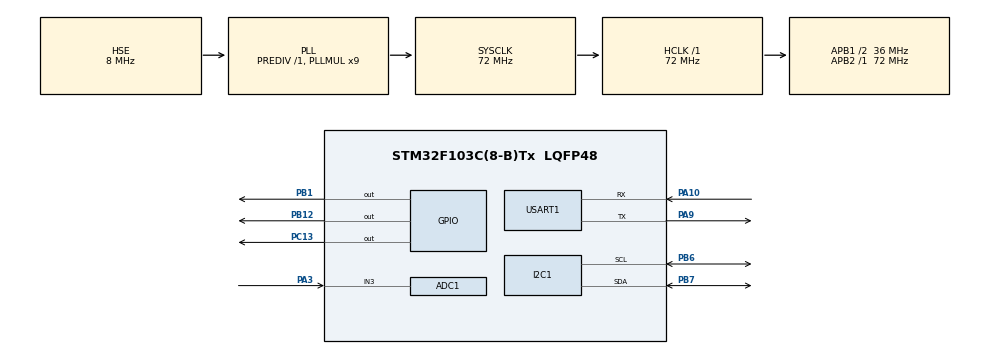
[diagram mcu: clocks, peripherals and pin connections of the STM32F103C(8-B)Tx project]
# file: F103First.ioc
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ADC1.Channel-0\#ChannelRegularConversion=ADC_CHANNEL_3
ADC1.NbrOfConversionFlag=1
ADC1.Rank-0\#ChannelRegularConversion=1
ADC1.SamplingTime-0\#ChannelRegularConversion=ADC_SAMPLETIME_71CYCLES_5
ADC1.master=1
Mcu.Family=STM32F1
Mcu.Name=STM32F103C(8-B)Tx
Mcu.Package=LQFP48
NVIC.PriorityGroup=NVIC_PRIORITYGROUP_4
NVIC.USART1_IRQn=true\:0\:0\:false\:false\:true\:true\:true\:true
PA10.Mode=Asynchronous
PA10.Signal=USART1_RX
PA13.Mode=Serial_Wire
PA13.Signal=SYS_JTMS-SWDIO
PA14.Mode=Serial_Wire
PA14.Signal=SYS_JTCK-SWCLK
PA3.Signal=ADCx_IN3
PA9.Mode=Asynchronous
PA9.Signal=USART1_TX
PB1.Signal=GPIO_Output
PB12.Signal=GPIO_Output
PB6.Mode=I2C
PB6.Signal=I2C1_SCL
PB7.Mode=I2C
PB7.Signal=I2C1_SDA
PC13-TAMPER-RTC.Signal=GPIO_Output
PD0-OSC_IN.Mode=HSE-External-Oscillator
PD0-OSC_IN.Signal=RCC_OSC_IN
PD1-OSC_OUT.Mode=HSE-External-Oscillator
PD1-OSC_OUT.Signal=RCC_OSC_OUT
ProjectManager.HeapSize=0x200
ProjectManager.StackSize=0x400
ProjectManager.TargetToolchain=STM32CubeIDE
RCC.ADCPresc=RCC_ADCPCLK2_DIV6
RCC.AHBFreq_Value=72000000
RCC.APB1CLKDivider=RCC_HCLK_DIV2
RCC.APB1Freq_Value=36000000
RCC.APB1TimFreq_Value=72000000
RCC.APB2Freq_Value=72000000
RCC.APB2TimFreq_Value=72000000
RCC.HCLKFreq_Value=72000000
RCC.PLLMUL=RCC_PLL_MUL9
RCC.PLLSourceVirtual=RCC_PLLSOURCE_HSE
RCC.SYSCLKFreq_VALUE=72000000
RCC.SYSCLKSource=RCC_SYSCLKSOURCE_PLLCLK
RCC.USBFreq_Value=72000000
SH.ADCx_IN3.0=ADC1_IN3,IN3
USART1.VirtualMode=VM_ASYNC
board=custom

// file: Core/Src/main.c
/* USER CODE BEGIN Header */
/**
  ******************************************************************************
  * @file           : main.c
  * @brief          : Main program body
  ******************************************************************************
  */
/* USER CODE END Header */
#include "main.h"

/* USER CODE BEGIN Includes */
#include <stdio.h>
#include <string.h>
#include "ds18b20.h"
#include "ads1115.h"
#include "moisture_sensor.h"

/* USER CODE END Includes */

/* USER CODE BEGIN PD */
#define STARTUP_DEBUG_WINDOW_MS 5000
#define SOIL_DRY_RAW            17300U
#define SOIL_WET_RAW             7100U

/* USER CODE END PD */

ADC_HandleTypeDef hadc1;

I2C_HandleTypeDef hi2c1;

UART_HandleTypeDef huart1;

/* USER CODE BEGIN PV */
volatile uint8_t measure_flag = 0;
volatile uint8_t ack_received = 0;
uint32_t adc_value = 0;
ADS1115_t ads;

uint8_t rx_data;
char rx_buffer[32];
uint8_t rx_index = 0;

/* Battery voltage is measured via ADC1_IN3 (PA3).
 * A 100k/100k voltage divider is connected between BAT+ and GND.
 * ReadBatteryMillivolts() uses the CubeMX-generated hadc1 handle.
 */

/* Last measured battery voltage in mV.
 * Initialize to 4200 mV to prevent an immediate critical-battery shutdown
 * during the first measurement cycle after power-on.
 */
static uint32_t last_battery_mV = 4200;

/* Voltage thresholds and ADC scaling for a single 18650 Li-Ion cell. */
#define BATTERY_CRITICAL_MV   3100U   /* Enter STANDBY after warning blink below this level */
#define BATTERY_VREF_MV       3300U   /* STM32 VDD/VREF+ after LDO */
#define BATTERY_ADC_MAX       4095U   /* 12-bit ADC */
#define BATTERY_DIVIDER       2U      /* R1=R2=100k -> x2 */

/* USER CODE END PV */

void SystemClock_Config(void);
static void MX_GPIO_Init(void);
static void MX_I2C1_Init(void);
static void MX_USART1_UART_Init(void);
static void MX_ADC1_Init(void);
/* USER CODE BEGIN PFP */

uint8_t Moisture_ToPercent(uint32_t raw, uint32_t dry, uint32_t wet);
static void EnterStopMode(void);
static uint8_t Debugger_IsAttached(void);
static void LED_Blink(uint8_t count);
HAL_StatusTypeDef MeasureAndTransmit(void);
static uint32_t ReadBatteryMillivolts(void);
static void CriticalBatteryShutdown(void);

/* USER CODE END PFP */

/* USER CODE BEGIN 0 */

void HAL_GPIO_EXTI_Callback(uint16_t GPIO_Pin) {

	if(GPIO_Pin == GPIO_PIN_10){
		/* PA10 (USART1 RX) is reconfigured as EXTI before entering STOP mode.
		 * The start bit of the first byte from the ESP32 wakes the MCU.
		 */
		measure_flag = 1;

	}
}

/* LED diagnostics use the onboard PC13 LED (active LOW) and an external
 * PB12 LED (active HIGH). Both LEDs are switched synchronously.
 * One short blink = OK, two = error, three = separate error condition.
 */
static void LED_Blink(uint8_t count)
{
    for (uint8_t i = 0; i < count; i++)
    {
        HAL_GPIO_WritePin(GPIOC, GPIO_PIN_13, GPIO_PIN_RESET); /* PC13 ON  (active LOW)  */
        HAL_GPIO_WritePin(GPIOB, GPIO_PIN_12, GPIO_PIN_SET);   /* PB12 ON  (active HIGH) */
        HAL_Delay(120);
        HAL_GPIO_WritePin(GPIOC, GPIO_PIN_13, GPIO_PIN_SET);   /* PC13 OFF */
        HAL_GPIO_WritePin(GPIOB, GPIO_PIN_12, GPIO_PIN_RESET); /* PB12 OFF */
        HAL_Delay(200);
    }
    HAL_Delay(400); /* Pause between blink groups */
}

HAL_StatusTypeDef MeasureAndTransmit(void) {

    int16_t temp_integer = 0;
    int16_t temp_fraction = 0;

    uint32_t raw1, raw2, raw3, raw4;
    uint32_t soil1, soil2, soil3, soil4;
    uint8_t ads_ready;

    /* Distinguish an I2C/ADS1115 failure from a valid wet-soil reading. */
    ads_ready = (ADS1115_IsReady(&ads) == HAL_OK);
    raw1 = MoistureSensor_Read(ADS1115_CHANNEL_0);
    raw2 = MoistureSensor_Read(ADS1115_CHANNEL_1);
    raw3 = MoistureSensor_Read(ADS1115_CHANNEL_2);
    raw4 = MoistureSensor_Read(ADS1115_CHANNEL_3);

    soil1 = Moisture_ToPercent(raw1, SOIL_DRY_RAW, SOIL_WET_RAW);
    soil2 = Moisture_ToPercent(raw2, SOIL_DRY_RAW, SOIL_WET_RAW);
    soil3 = Moisture_ToPercent(raw3, SOIL_DRY_RAW, SOIL_WET_RAW);
    soil4 = Moisture_ToPercent(raw4, SOIL_DRY_RAW, SOIL_WET_RAW);

    last_battery_mV = ReadBatteryMillivolts();

    uint8_t result = DS18B20_ReadTemperatureInt(&temp_integer, &temp_fraction);

    char uart_buffer[256];

    if(result == DS18B20_OK)
    {
        snprintf(uart_buffer,
            sizeof(uart_buffer),
            "{\"deviceId\":2,"
            "\"temperature\":%d.%02d,"
            "\"soil\":[%lu,%lu,%lu,%lu],"
            "\"adsReady\":%s,"
            "\"soilRaw\":[%lu,%lu,%lu,%lu],"
            "\"battery\":%lu}\r\n",
            temp_integer,
            temp_fraction,
            soil1, soil2, soil3, soil4,
            ads_ready ? "true" : "false",
            raw1, raw2, raw3, raw4,
            last_battery_mV);
    }
    else
    {
        snprintf(uart_buffer,
            sizeof(uart_buffer),
            "{\"deviceId\":2,"
            "\"temperature\":null,"
            "\"soil\":[%lu,%lu,%lu,%lu],"
            "\"adsReady\":%s,"
            "\"soilRaw\":[%lu,%lu,%lu,%lu],"
            "\"battery\":%lu}\r\n",
            soil1, soil2, soil3, soil4,
            ads_ready ? "true" : "false",
            raw1, raw2, raw3, raw4,
            last_battery_mV);
    }

    return HAL_UART_Transmit(&huart1,
                             (uint8_t*)uart_buffer,
                             strlen(uart_buffer),
                             2000);
}

/* Read battery voltage using eight ADC samples and apply the x2 divider ratio. */
static uint32_t ReadBatteryMillivolts(void)
{
    uint32_t sum = 0;
    for (int i = 0; i < 8; i++)
    {
        HAL_ADC_Start(&hadc1);
        HAL_ADC_PollForConversion(&hadc1, 10);
        sum += HAL_ADC_GetValue(&hadc1);
        HAL_ADC_Stop(&hadc1);
    }
    uint32_t raw = sum / 8U;
    return (raw * BATTERY_VREF_MV * BATTERY_DIVIDER) / BATTERY_ADC_MAX;
}

/* Critical battery shutdown: blink both LEDs five times, then enter STANDBY.
 * The MCU can only recover from STANDBY through NRST or a new power cycle.
 */
static void CriticalBatteryShutdown(void)
{
    for (int i = 0; i < 5; i++)
    {
        HAL_GPIO_WritePin(GPIOC, GPIO_PIN_13, GPIO_PIN_RESET); /* PC13 ON  */
        HAL_GPIO_WritePin(GPIOB, GPIO_PIN_12, GPIO_PIN_SET);   /* PB12 ON  */
        HAL_Delay(500);
        HAL_GPIO_WritePin(GPIOC, GPIO_PIN_13, GPIO_PIN_SET);   /* PC13 OFF */
        HAL_GPIO_WritePin(GPIOB, GPIO_PIN_12, GPIO_PIN_RESET); /* PB12 OFF */
        HAL_Delay(500);
    }
    HAL_PWR_EnterSTANDBYMode();
    /* Execution does not return here; wake-up from STANDBY causes a reset. */
}

uint8_t Moisture_ToPercent(uint32_t raw, uint32_t dry, uint32_t wet)
{
    if (raw >= dry) return 0;
    if (raw <= wet) return 100;

    return (uint8_t)(((dry - raw) * 100U) / (dry - wet));
}

static void EnterStopMode(void)
{
    if (Debugger_IsAttached())
    {
        HAL_Delay(100);
        return;
    }

    /* Disable both LEDs before STOP mode to minimize power consumption. */
    HAL_GPIO_WritePin(GPIOC, GPIO_PIN_13, GPIO_PIN_SET);   /* PC13 OFF (active LOW)  */
    HAL_GPIO_WritePin(GPIOB, GPIO_PIN_12, GPIO_PIN_RESET); /* PB12 OFF (active HIGH) */

    /* Deinitialize UART to release PA10 (RX) for EXTI wake-up configuration. */
    HAL_UART_AbortReceive_IT(&huart1);
    HAL_UART_DeInit(&huart1);

    /* Configure PA10 (USART1 RX) as falling-edge EXTI.
     * UART idle state is HIGH; the first start bit from the ESP32 pulls the
     * line LOW and wakes the MCU from STOP mode without an extra wake-up wire.
     */
    GPIO_InitTypeDef GPIO_InitStruct = {0};
    GPIO_InitStruct.Pin  = GPIO_PIN_10;
    GPIO_InitStruct.Mode = GPIO_MODE_IT_FALLING;
    GPIO_InitStruct.Pull = GPIO_PULLUP; /* Keep HIGH while ESP32 TX is floating in sleep */
    HAL_GPIO_Init(GPIOA, &GPIO_InitStruct);
    HAL_NVIC_SetPriority(EXTI15_10_IRQn, 0, 0);
    HAL_NVIC_EnableIRQ(EXTI15_10_IRQn);

    HAL_SuspendTick();
    HAL_PWR_EnterSTOPMode(PWR_LOWPOWERREGULATOR_ON, PWR_STOPENTRY_WFI);

    SystemClock_Config();
    HAL_ResumeTick();

    HAL_NVIC_DisableIRQ(EXTI15_10_IRQn);

    /* Reinitialize peripherals after STOP mode before communication resumes. */
    MX_I2C1_Init();
    MX_USART1_UART_Init();
    HAL_UART_Receive_IT(&huart1, &rx_data, 1);
}

static uint8_t Debugger_IsAttached(void)
{
    return (CoreDebug->DHCSR & CoreDebug_DHCSR_C_DEBUGEN_Msk) != 0U;
}

/* USER CODE END 0 */

int main(void)
{

  /* MCU Configuration--------------------------------------------------------*/

  /* Reset of all peripherals, Initializes the Flash interface and the Systick. */
  HAL_Init();

  /* Configure the system clock */
  SystemClock_Config();

  /* Initialize all configured peripherals */
  MX_GPIO_Init();
  MX_I2C1_Init();
  MX_USART1_UART_Init();
  MX_ADC1_Init();
  /* USER CODE BEGIN 2 */

  /* Keep SWD debugging enabled in low-power modes. */
  __HAL_RCC_PWR_CLK_ENABLE();
  HAL_DBGMCU_EnableDBGSleepMode();
  HAL_DBGMCU_EnableDBGStopMode();
  HAL_DBGMCU_EnableDBGStandbyMode();

  /* Calibrate ADC1 once at startup to improve conversion accuracy on STM32F103. */
  HAL_ADCEx_Calibration_Start(&hadc1);

  HAL_UART_Receive_IT(&huart1, &rx_data, 1);

  ADS1115_Init(&ads, &hi2c1, ADS1115_ADDR_GND,
               ADS1115_PGA_4_096V,
               ADS1115_DR_128SPS);

  if (ADS1115_IsReady(&ads) != HAL_OK)
  {
      char msg[] = "ADS1115 not found\r\n";
      HAL_UART_Transmit(&huart1, (uint8_t*)msg, strlen(msg), HAL_MAX_DELAY);
  }
  else
  {
      char msg[] = "ADS1115 OK\r\n";
      HAL_UART_Transmit(&huart1, (uint8_t*)msg, strlen(msg), HAL_MAX_DELAY);
  }

  /* Initialize the DWT cycle counter before using microsecond delays. */
  DS18B20_DWT_Init();

  HAL_Delay(10);

  /* Blink the onboard LED three times as a startup self-test.
   * Blue Pill PC13 LED uses active-low logic.
   */
  HAL_GPIO_WritePin(GPIOC, GPIO_PIN_13, GPIO_PIN_RESET); /* LED off */
  HAL_Delay(500);

  for(int i = 0; i < 3; i++) {
      HAL_GPIO_WritePin(GPIOC, GPIO_PIN_13, GPIO_PIN_SET);   /* LED on */
      HAL_Delay(200);
      HAL_GPIO_WritePin(GPIOC, GPIO_PIN_13, GPIO_PIN_RESET); /* LED off */
      HAL_Delay(200);
  }

  HAL_Delay(500); /* Startup self-test pause */
  HAL_Delay(STARTUP_DEBUG_WINDOW_MS);
  /* USER CODE END 2 */

  /* Infinite loop */
  /* USER CODE BEGIN WHILE */
  while (1){

    if (measure_flag)
    {
        measure_flag = 0;
        ack_received = 0;
        LED_Blink(1);                                 /* Wake-up indication */
        HAL_StatusTypeDef tx = MeasureAndTransmit();
        LED_Blink(tx == HAL_OK ? 1 : 2);              /* 1 = sent, 2 = UART error */

        /* Critical battery protection.
         * A lower limit of 2400 mV corresponds to the DW01A protection cutoff;
         * values below that indicate an unconnected divider or floating PA3.
         * Require three consecutive readings in the 2400..CRITICAL mV range.
         */
        static uint8_t critical_streak = 0;
        if (last_battery_mV > 2400U && last_battery_mV < BATTERY_CRITICAL_MV)
        {
            critical_streak++;
            if (critical_streak >= 3)
            {
                CriticalBatteryShutdown();
            }
        }
        else
        {
            critical_streak = 0;
        }

        /* Wait up to 30 seconds for an ACK from the ESP32.
         * HAL_UART_RxCpltCallback sets ack_received after receiving "OK\n".
         * WFI keeps the CPU asleep between interrupts while preserving the
         * 30-second timeout. SysTick and UART interrupts wake the core.
         */
        uint32_t t0 = HAL_GetTick();
        while (!ack_received && (HAL_GetTick() - t0) < 30000UL)
        {
            __WFI();
        }
    }

    EnterStopMode();

    /* USER CODE END WHILE */

  }
}

void SystemClock_Config(void)
{
  RCC_OscInitTypeDef RCC_OscInitStruct = {0};
  RCC_ClkInitTypeDef RCC_ClkInitStruct = {0};
  RCC_PeriphCLKInitTypeDef PeriphClkInit = {0};

  /** Initializes the RCC Oscillators according to the specified parameters
  * in the RCC_OscInitTypeDef structure.
  */
  RCC_OscInitStruct.OscillatorType = RCC_OSCILLATORTYPE_HSE;
  RCC_OscInitStruct.HSEState = RCC_HSE_ON;
  RCC_OscInitStruct.HSEPredivValue = RCC_HSE_PREDIV_DIV1;
  RCC_OscInitStruct.HSIState = RCC_HSI_ON;
  RCC_OscInitStruct.PLL.PLLState = RCC_PLL_ON;
  RCC_OscInitStruct.PLL.PLLSource = RCC_PLLSOURCE_HSE;
  RCC_OscInitStruct.PLL.PLLMUL = RCC_PLL_MUL9;
  if (HAL_RCC_OscConfig(&RCC_OscInitStruct) != HAL_OK)
  {
    Error_Handler();
  }

  /** Initializes the CPU, AHB and APB buses clocks
  */
  RCC_ClkInitStruct.ClockType = RCC_CLOCKTYPE_HCLK|RCC_CLOCKTYPE_SYSCLK
                              |RCC_CLOCKTYPE_PCLK1|RCC_CLOCKTYPE_PCLK2;
  RCC_ClkInitStruct.SYSCLKSource = RCC_SYSCLKSOURCE_PLLCLK;
  RCC_ClkInitStruct.AHBCLKDivider = RCC_SYSCLK_DIV1;
  RCC_ClkInitStruct.APB1CLKDivider = RCC_HCLK_DIV2;
  RCC_ClkInitStruct.APB2CLKDivider = RCC_HCLK_DIV1;

  if (HAL_RCC_ClockConfig(&RCC_ClkInitStruct, FLASH_LATENCY_2) != HAL_OK)
  {
    Error_Handler();
  }
  PeriphClkInit.PeriphClockSelection = RCC_PERIPHCLK_ADC;
  PeriphClkInit.AdcClockSelection = RCC_ADCPCLK2_DIV6;
  if (HAL_RCCEx_PeriphCLKConfig(&PeriphClkInit) != HAL_OK)
  {
    Error_Handler();
  }
}

static void MX_ADC1_Init(void)
{

  ADC_ChannelConfTypeDef sConfig = {0};

  /** Common config
  */
  hadc1.Instance = ADC1;
  hadc1.Init.ScanConvMode = ADC_SCAN_DISABLE;
  hadc1.Init.ContinuousConvMode = DISABLE;
  hadc1.Init.DiscontinuousConvMode = DISABLE;
  hadc1.Init.ExternalTrigConv = ADC_SOFTWARE_START;
  hadc1.Init.DataAlign = ADC_DATAALIGN_RIGHT;
  hadc1.Init.NbrOfConversion = 1;
  if (HAL_ADC_Init(&hadc1) != HAL_OK)
  {
    Error_Handler();
  }

  /** Configure Regular Channel
  */
  sConfig.Channel = ADC_CHANNEL_3;
  sConfig.Rank = ADC_REGULAR_RANK_1;
  sConfig.SamplingTime = ADC_SAMPLETIME_71CYCLES_5;
  if (HAL_ADC_ConfigChannel(&hadc1, &sConfig) != HAL_OK)
  {
    Error_Handler();
  }
  /* USER CODE BEGIN ADC1_Init 2 */
  /* Override the sampling time: 7.5 cycles (625 ns) is too short for a source
   * with approximately 50 kOhm Thevenin resistance (100k/100k divider).
   * The ADC sample capacitor cannot fully charge and the reading is biased low.
   * 71.5 cycles is approximately 6 us and provides sufficient acquisition time.
   * The same value should also be configured in CubeMX to avoid this override.
   */
  sConfig.SamplingTime = ADC_SAMPLETIME_71CYCLES_5;
  if (HAL_ADC_ConfigChannel(&hadc1, &sConfig) != HAL_OK)
  {
    Error_Handler();
  }
  /* USER CODE END ADC1_Init 2 */

}

static void MX_I2C1_Init(void)
{

  hi2c1.Instance = I2C1;
  hi2c1.Init.ClockSpeed = 100000;
  hi2c1.Init.DutyCycle = I2C_DUTYCYCLE_2;
  hi2c1.Init.OwnAddress1 = 0;
  hi2c1.Init.AddressingMode = I2C_ADDRESSINGMODE_7BIT;
  hi2c1.Init.DualAddressMode = I2C_DUALADDRESS_DISABLE;
  hi2c1.Init.OwnAddress2 = 0;
  hi2c1.Init.GeneralCallMode = I2C_GENERALCALL_DISABLE;
  hi2c1.Init.NoStretchMode = I2C_NOSTRETCH_DISABLE;
  if (HAL_I2C_Init(&hi2c1) != HAL_OK)
  {
    Error_Handler();
  }

}

static void MX_USART1_UART_Init(void)
{

  huart1.Instance = USART1;
  huart1.Init.BaudRate = 115200;
  huart1.Init.WordLength = UART_WORDLENGTH_8B;
  huart1.Init.StopBits = UART_STOPBITS_1;
  huart1.Init.Parity = UART_PARITY_NONE;
  huart1.Init.Mode = UART_MODE_TX_RX;
  huart1.Init.HwFlowCtl = UART_HWCONTROL_NONE;
  huart1.Init.OverSampling = UART_OVERSAMPLING_16;
  if (HAL_UART_Init(&huart1) != HAL_OK)
  {
    Error_Handler();
  }

}

static void MX_GPIO_Init(void)
{
  GPIO_InitTypeDef GPIO_InitStruct = {0};

  /* GPIO Ports Clock Enable */
  __HAL_RCC_GPIOC_CLK_ENABLE();
  __HAL_RCC_GPIOD_CLK_ENABLE();
  __HAL_RCC_GPIOA_CLK_ENABLE();
  __HAL_RCC_GPIOB_CLK_ENABLE();

  /*Configure GPIO pin Output Level */
  HAL_GPIO_WritePin(GPIOC, GPIO_PIN_13, GPIO_PIN_RESET);

  /*Configure GPIO pin Output Level */
  HAL_GPIO_WritePin(GPIOB, GPIO_PIN_1|GPIO_PIN_12, GPIO_PIN_RESET);

  /*Configure GPIO pin : PC13 */
  GPIO_InitStruct.Pin = GPIO_PIN_13;
  GPIO_InitStruct.Mode = GPIO_MODE_OUTPUT_PP;
  GPIO_InitStruct.Pull = GPIO_NOPULL;
  GPIO_InitStruct.Speed = GPIO_SPEED_FREQ_LOW;
  HAL_GPIO_Init(GPIOC, &GPIO_InitStruct);

  /*Configure GPIO pins : PB1 PB12 */
  GPIO_InitStruct.Pin = GPIO_PIN_1|GPIO_PIN_12;
  GPIO_InitStruct.Mode = GPIO_MODE_OUTPUT_PP;
  GPIO_InitStruct.Pull = GPIO_NOPULL;
  GPIO_InitStruct.Speed = GPIO_SPEED_FREQ_LOW;
  HAL_GPIO_Init(GPIOB, &GPIO_InitStruct);

}

/* USER CODE BEGIN 4 */

/**
  * @brief  EXTI line detection callback.
  * @param  GPIO_Pin: Specifies the pins connected EXTI line
  * @retval None
  */
void HAL_UART_RxCpltCallback(UART_HandleTypeDef *huart)
{
    if (huart->Instance == USART1)
    {
        if (rx_data == '\r')
        {
            /* Ignore CR so both "MEASURE\n" and "MEASURE\r\n" work. */
        }
        else if (rx_data == '\n')
        {
            rx_buffer[rx_index] = '\0';

            if (strcmp(rx_buffer, "MEASURE") == 0)
            {
                measure_flag = 1;
            }
            else if (strcmp(rx_buffer, "OK") == 0)
            {
                ack_received = 1;
            }

            rx_index = 0;
        }
        else
        {
            if (rx_index < sizeof(rx_buffer) - 1)
            {
                rx_buffer[rx_index++] = rx_data;
            }
        }

        HAL_UART_Receive_IT(&huart1, &rx_data, 1);
    }
}

void HAL_UART_ErrorCallback(UART_HandleTypeDef *huart)
{
    if (huart->Instance == USART1)
    {
        HAL_UART_Receive_IT(&huart1, &rx_data, 1);
    }
}
/* USER CODE END 4 */

void Error_Handler(void)
{
  __disable_irq();
  while (1)
  {
  }
}
